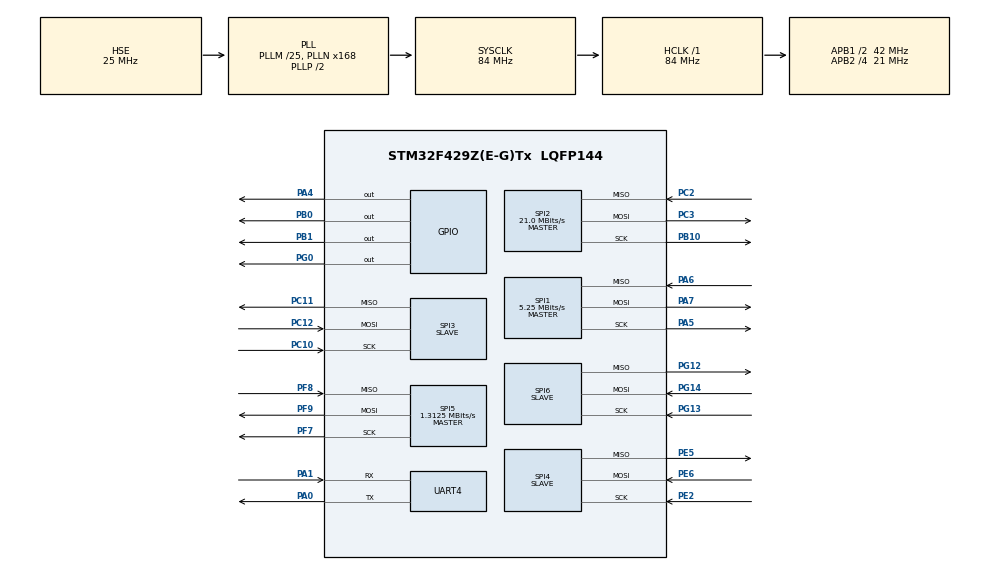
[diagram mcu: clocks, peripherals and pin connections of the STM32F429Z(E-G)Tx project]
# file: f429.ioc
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Mcu.Family=STM32F4
SPI6.Mode=SPI_MODE_SLAVE
PC3.Mode=Full_Duplex_Master
PA6.Mode=Full_Duplex_Master
RCC.CortexFreq_Value=84000000
SPI3.Direction=SPI_DIRECTION_2LINES
SPI4.VirtualType=VM_SLAVE
SPI3.VirtualType=VM_SLAVE
SPI1.VirtualType=VM_MASTER
SPI2.VirtualType=VM_MASTER
PB10.Mode=Full_Duplex_Master
Dma.SPI3_RX.2.Instance=DMA1_Stream0
PC10.Signal=SPI3_SCK
PC12.Signal=SPI3_MOSI
PG0.Signal=GPIO_Output
SPI4.Direction=SPI_DIRECTION_2LINES
Dma.SPI5_RX.4.Priority=DMA_PRIORITY_LOW
Dma.SPI2_TX.1.PeriphInc=DMA_PINC_DISABLE
PA0/WKUP.Signal=UART4_TX
Dma.SPI3_RX.2.Direction=DMA_PERIPH_TO_MEMORY
Dma.SPI4_RX.3.PeriphDataAlignment=DMA_PDATAALIGN_BYTE
Dma.SPI5_RX.4.MemDataAlignment=DMA_MDATAALIGN_BYTE
NVIC.DMA1_Stream4_IRQn=true\:0\:0\:false\:false\:true\:false\:true
PG13.Signal=SPI6_SCK
Dma.SPI5_RX.4.FIFOMode=DMA_FIFOMODE_DISABLE
Dma.SPI3_RX.2.PeriphDataAlignment=DMA_PDATAALIGN_BYTE
RCC.SYSCLKSource=RCC_SYSCLKSOURCE_PLLCLK
ProjectManager.StackSize=0x400
Dma.SPI5_RX.4.MemInc=DMA_MINC_ENABLE
Dma.SPI1_RX.0.Direction=DMA_PERIPH_TO_MEMORY
SPI4.Mode=SPI_MODE_SLAVE
PF7.Signal=SPI5_SCK
SPI1.Direction=SPI_DIRECTION_2LINES
PH0/OSC_IN.Mode=HSE-External-Oscillator
RCC.HCLKFreq_Value=84000000
PE2.Mode=Full_Duplex_Slave
RCC.APB2TimFreq_Value=42000000
PH1/OSC_OUT.Signal=RCC_OSC_OUT
SPI1.CalculateBaudRate=5.25 MBits/s
PC3.Signal=SPI2_MOSI
NVIC.DMA2_Stream0_IRQn=true\:0\:0\:false\:false\:true\:false\:true
PE5.Signal=SPI4_MISO
RCC.AHBFreq_Value=84000000
SPI2.BaudRatePrescaler=SPI_BAUDRATEPRESCALER_2
RCC.HSE_VALUE=25000000
PA4.GPIO_PuPd=GPIO_PULLUP
Dma.SPI1_RX.0.PeriphInc=DMA_PINC_DISABLE
PG14.Mode=Full_Duplex_Slave
PF9.Mode=Full_Duplex_Master
PA14.Mode=Serial_Wire
SPI2.CalculateBaudRate=21.0 MBits/s
PE2.Signal=SPI4_SCK
Dma.SPI6_RX.5.FIFOMode=DMA_FIFOMODE_DISABLE
PF8.Mode=Full_Duplex_Master
PG13.Mode=Full_Duplex_Slave
PH1/OSC_OUT.Mode=HSE-External-Oscillator
Dma.SPI3_RX.2.FIFOMode=DMA_FIFOMODE_DISABLE
Dma.SPI2_TX.1.FIFOMode=DMA_FIFOMODE_DISABLE
Mcu.Package=LQFP144
SPI5.BaudRatePrescaler=SPI_BAUDRATEPRESCALER_16
PB1.Signal=GPIO_Output
PA6.Signal=SPI1_MISO
Dma.SPI2_TX.1.Mode=DMA_NORMAL
SPI2.Mode=SPI_MODE_MASTER
SPI3.Mode=SPI_MODE_SLAVE
Dma.SPI6_RX.5.MemInc=DMA_MINC_ENABLE
Dma.SPI6_RX.5.Instance=DMA2_Stream6
Dma.SPI4_RX.3.Direction=DMA_PERIPH_TO_MEMORY
PF8.Signal=SPI5_MISO
Dma.SPI2_TX.1.Instance=DMA1_Stream4
PC11.Mode=Full_Duplex_Slave
Dma.SPI3_RX.2.PeriphInc=DMA_PINC_DISABLE
SPI5.CalculateBaudRate=1.3125 MBits/s
RCC.APB2CLKDivider=RCC_HCLK_DIV4
Dma.SPI3_RX.2.Priority=DMA_PRIORITY_LOW
Dma.Request2=SPI3_RX
Dma.Request1=SPI2_TX
Dma.SPI5_RX.4.PeriphInc=DMA_PINC_DISABLE
RCC.APB1TimFreq_Value=84000000
Dma.Request4=SPI5_RX
Dma.Request3=SPI4_RX
Dma.Request5=SPI6_RX
NVIC.DMA1_Stream0_IRQn=true\:0\:0\:false\:false\:true\:false\:true
SPI2.Direction=SPI_DIRECTION_2LINES
Dma.SPI6_RX.5.Direction=DMA_PERIPH_TO_MEMORY
Dma.Request0=SPI1_RX
SPI1.BaudRatePrescaler=SPI_BAUDRATEPRESCALER_4
SPI5.VirtualType=VM_MASTER
Dma.SPI6_RX.5.PeriphDataAlignment=DMA_PDATAALIGN_BYTE
PA5.Mode=Full_Duplex_Master
PG12.Signal=SPI6_MISO
RCC.PLLSourceVirtual=RCC_PLLSOURCE_HSE
Dma.SPI2_TX.1.MemInc=DMA_MINC_ENABLE
PA7.Mode=Full_Duplex_Master
Dma.SPI6_RX.5.Mode=DMA_NORMAL
PC11.Signal=SPI3_MISO
Dma.SPI4_RX.3.Priority=DMA_PRIORITY_LOW
PC10.Mode=Full_Duplex_Slave
PC2.Signal=SPI2_MISO
PC2.Mode=Full_Duplex_Master
Dma.SPI1_RX.0.Mode=DMA_NORMAL
RCC.APB1CLKDivider=RCC_HCLK_DIV2
UART4.VirtualMode=Asynchronous
Dma.SPI4_RX.3.FIFOMode=DMA_FIFOMODE_DISABLE
SPI5.Mode=SPI_MODE_MASTER
PA13.Signal=SYS_JTMS-SWDIO
Dma.SPI1_RX.0.FIFOMode=DMA_FIFOMODE_DISABLE
PF7.Mode=Full_Duplex_Master
Dma.SPI4_RX.3.MemInc=DMA_MINC_ENABLE
ProjectManager.TargetToolchain=STM32CubeIDE
SPI2.CRCCalculation=SPI_CRCCALCULATION_DISABLE
NVIC.DMA2_Stream3_IRQn=true\:0\:0\:false\:false\:true\:false\:true
NVIC.DMA2_Stream6_IRQn=true\:0\:0\:false\:false\:true\:false\:true
RCC.LSE_VALUE=32768
PA1.Signal=UART4_RX
PA0/WKUP.Mode=Asynchronous
PB10.Signal=SPI2_SCK
PA5.Signal=SPI1_SCK
PG14.Signal=SPI6_MOSI
PC12.Mode=Full_Duplex_Slave
board=custom
PG12.Mode=Full_Duplex_Slave
Dma.SPI2_TX.1.Direction=DMA_MEMORY_TO_PERIPH
RCC.VCOOutputFreq_Value=168000000
Dma.SPI5_RX.4.Instance=DMA2_Stream5
PH0/OSC_IN.Signal=RCC_OSC_IN
RCC.APB2Freq_Value=21000000
PA1.Mode=Asynchronous
PE6.Mode=Full_Duplex_Slave
Dma.SPI2_TX.1.PeriphDataAlignment=DMA_PDATAALIGN_BYTE
SPI1.Mode=SPI_MODE_MASTER
Dma.SPI2_TX.1.Priority=DMA_PRIORITY_LOW
Dma.SPI1_RX.0.Instance=DMA2_Stream0
PE5.Mode=Full_Duplex_Slave
NVIC.DMA2_Stream5_IRQn=true\:0\:0\:false\:false\:true\:false\:true
Dma.SPI1_RX.0.PeriphDataAlignment=DMA_PDATAALIGN_BYTE
Dma.SPI6_RX.5.MemDataAlignment=DMA_MDATAALIGN_BYTE
SPI6.Direction=SPI_DIRECTION_2LINES
Dma.SPI1_RX.0.MemDataAlignment=DMA_MDATAALIGN_BYTE
Dma.SPI4_RX.3.Mode=DMA_NORMAL
PE6.Signal=SPI4_MOSI
PA13.Mode=Serial_Wire
Dma.SPI3_RX.2.Mode=DMA_NORMAL
Dma.SPI6_RX.5.Priority=DMA_PRIORITY_LOW
Mcu.Name=STM32F429Z(E-G)Tx
Dma.SPI1_RX.0.MemInc=DMA_MINC_ENABLE
RCC.48MHZClocksFreq_Value=42000000
PA4.Signal=GPIO_Output
RCC.SYSCLKFreq_VALUE=84000000
Dma.SPI5_RX.4.PeriphDataAlignment=DMA_PDATAALIGN_BYTE
Dma.SPI3_RX.2.MemInc=DMA_MINC_ENABLE
PA14.Signal=SYS_JTCK-SWCLK
ProjectManager.HeapSize=0x200
Dma.SPI1_RX.0.Priority=DMA_PRIORITY_LOW
PF9.Signal=SPI5_MOSI
RCC.HSI_VALUE=16000000
Dma.SPI4_RX.3.MemDataAlignment=DMA_MDATAALIGN_BYTE
Dma.SPI6_RX.5.PeriphInc=DMA_PINC_DISABLE
Dma.SPI4_RX.3.Instance=DMA2_Stream3
Dma.SPI5_RX.4.Mode=DMA_NORMAL
NVIC.PriorityGroup=NVIC_PRIORITYGROUP_4
RCC.PLLM=25
RCC.PLLN=168
Dma.SPI3_RX.2.MemDataAlignment=DMA_MDATAALIGN_BYTE
RCC.APB1Freq_Value=42000000
PB0.Signal=GPIO_Output
Dma.SPI2_TX.1.MemDataAlignment=DMA_MDATAALIGN_BYTE
Dma.SPI5_RX.4.Direction=DMA_PERIPH_TO_MEMORY
SPI6.VirtualType=VM_SLAVE
Dma.SPI4_RX.3.PeriphInc=DMA_PINC_DISABLE
SPI5.Direction=SPI_DIRECTION_2LINES
PA7.Signal=SPI1_MOSI

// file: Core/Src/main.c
/* USER CODE BEGIN Header */
/**
  ******************************************************************************
  * @file           : main.c
  * @brief          : Main program body
  ******************************************************************************
  * @attention
  *
  * <h2><center>&copy; Copyright (c) 2021 STMicroelectronics.
  * All rights reserved.</center></h2>
  *
  * This software component is licensed by ST under BSD 3-Clause license,
  * the "License"; You may not use this file except in compliance with the
  * License. You may obtain a copy of the License at:
  *                        opensource.org/licenses/BSD-3-Clause
  *
  ******************************************************************************
  */
/* USER CODE END Header */
#include "main.h"
#include "dma.h"
#include "spi.h"
#include "usart.h"
#include "gpio.h"

/* USER CODE BEGIN Includes */
#include "stdio.h"
#include "string.h"
#include "stdlib.h"
#include "w5500.h"
#include "socket.h"
#include "wizchip_conf.h"
#include "loopback.h"
//
#ifdef __GNUC__
#define PUTCHAR_PROTOTYPE int __io_putchar(int ch)
#else
#define PUTCHAR_PROTOTYPE int fputc(int ch, FILE *f)
#endif
PUTCHAR_PROTOTYPE
{
  HAL_UART_Transmit(&huart4 , (uint8_t *)&ch, 1, 0xFFFF);
  return ch;
}
/* USER CODE END Includes */

/* USER CODE BEGIN PD */

#define SOCK_TCPS        0
#define SOCK_UDPS        1
/* USER CODE END PD */

/* USER CODE BEGIN PV */
wiz_NetInfo gWIZNETINFO = { .mac = {0x00, 0x01, 0x02, 0x03, 0x04, 0x05},
                            .ip = {192, 168, 0, 188},
                            .sn = {255, 255, 255, 0},
                            .gw = {192, 168, 0, 1},
                            .dns = {8, 8, 8, 8},
                            .dhcp = NETINFO_STATIC };

uint8_t gDATABUF[2048];
/* USER CODE END PV */

void SystemClock_Config(void);
/* USER CODE BEGIN PFP */
//void W5500_Select(void);
//void W5500_Unselect(void);
//void W5500_ReadBuff(uint8_t* buff, uint16_t len);
//void W5500_WriteBuff(uint8_t* buff, uint16_t len);
//uint8_t W5500_ReadByte(void);
//void W5500_WriteByte(uint8_t byte);
//void network_init(void);
//
//
//
//
//void W5500_WriteByte(uint8_t byte);
//void network_init(void);

void W5500_Select(void) {
	HAL_GPIO_WritePin(GPIOA, GPIO_PIN_4, GPIO_PIN_RESET); //CS LOW
}

void W5500_Unselect(void) {
  HAL_GPIO_WritePin(GPIOA, GPIO_PIN_4, GPIO_PIN_SET);
}

void W5500_ReadBuff(uint8_t* buff, uint16_t len) {
  HAL_SPI_Receive(&hspi5, buff, len, HAL_MAX_DELAY);
}

void W5500_WriteBuff(uint8_t* buff, uint16_t len) {
  HAL_SPI_Transmit(&hspi5, buff, len, HAL_MAX_DELAY);
}
uint8_t W5500_ReadByte(void) {
  uint8_t byte;
  W5500_ReadBuff(&byte, sizeof(byte));
  return byte;
}

void W5500_WriteByte(uint8_t byte) {
  W5500_WriteBuff(&byte, sizeof(byte));
}
//uint8_t spi_rb(void) {
//	uint8_t rbuf;
//	HAL_SPI_Receive(&hspi1, &rbuf, 1, 0xFFFFFFFF);
//	return rbuf;
//}
//
//void spi_wb(uint8_t b) {
//	HAL_SPI_Transmit(&hspi1, &b, 1, 0xFFFFFFFF);
//}
//uint8_t W5500_ReadByte(void) {
//  uint8_t byte;
//  W5500_ReadBuff(&byte, sizeof(byte));
//  return byte;
//}
//
//void W5500_WriteByte(uint8_t byte) {
//  W5500_WriteBuff(&byte, sizeof(byte));
//}

void network_init(void)
{
  uint8_t tmpstr[6];
  ctlnetwork(CN_SET_NETINFO, (void*)&gWIZNETINFO);
  ctlnetwork(CN_GET_NETINFO, (void*)&gWIZNETINFO);

  // Display Network Information
  ctlwizchip(CW_GET_ID,(void*)tmpstr);
  printf("\r\n=== %s NET CONF ===\r\n",(char*)tmpstr);
  printf("MAC: %02X:%02X:%02X:%02X:%02X:%02X\r\n",gWIZNETINFO.mac[0],gWIZNETINFO.mac[1],gWIZNETINFO.mac[2],gWIZNETINFO.mac[3],gWIZNETINFO.mac[4],gWIZNETINFO.mac[5]);
  printf("SIP: %d.%d.%d.%d\r\n", gWIZNETINFO.ip[0],gWIZNETINFO.ip[1],gWIZNETINFO.ip[2],gWIZNETINFO.ip[3]);
  printf("GAR: %d.%d.%d.%d\r\n", gWIZNETINFO.gw[0],gWIZNETINFO.gw[1],gWIZNETINFO.gw[2],gWIZNETINFO.gw[3]);
  printf("SUB: %d.%d.%d.%d\r\n", gWIZNETINFO.sn[0],gWIZNETINFO.sn[1],gWIZNETINFO.sn[2],gWIZNETINFO.sn[3]);
  printf("DNS: %d.%d.%d.%d\r\n", gWIZNETINFO.dns[0],gWIZNETINFO.dns[1],gWIZNETINFO.dns[2],gWIZNETINFO.dns[3]);
  printf("======================\r\n");
}

/* USER CODE END PFP */

int main(void)
{
  /* USER CODE BEGIN 1 */
	uint8_t tmp;
  int32_t retr = 0;
  uint8_t memsize[2][8] = {{2,2,2,2,2,2,2,2},{2,2,2,2,2,2,2,2}};

  /* USER CODE END 1 */

  /* MCU Configuration--------------------------------------------------------*/

  /* Reset of all peripherals, Initializes the Flash interface and the Systick. */
  HAL_Init();

  /* Configure the system clock */
  SystemClock_Config();

  /* Initialize all configured peripherals */
  MX_GPIO_Init();
  MX_DMA_Init();
  MX_SPI1_Init();
  MX_SPI2_Init();
  MX_SPI3_Init();
  MX_SPI4_Init();
  MX_SPI5_Init();
  MX_SPI6_Init();
  MX_UART4_Init();
  /* USER CODE BEGIN 2 */
	reg_wizchip_cs_cbfunc(W5500_Select, W5500_Unselect);
	reg_wizchip_spi_cbfunc(W5500_ReadByte, W5500_WriteByte);
	reg_wizchip_spiburst_cbfunc(W5500_ReadBuff, W5500_WriteBuff);

/* WIZCHIP SOCKET Buffer initialize */
if(ctlwizchip(CW_INIT_WIZCHIP,(void*)memsize) == -1)
{
   printf("WIZCHIP Initialized fail.\r\n");
   while(1);
}

/* PHY link status check */
do
{
   if(ctlwizchip(CW_GET_PHYLINK, (void*)&tmp) == -1)
      printf("Unknown PHY Link stauts.\r\n");
}while(tmp == PHY_LINK_OFF);
	printf("SOCKET ERROR =1");
network_init();

  /* USER CODE END 2 */

  /* Infinite loop */
  /* USER CODE BEGIN WHILE */
  while (1)
  {

//      printf("enter while\r\n");

//      HAL_Delay(500);

//    DHT_data d = DHT_getData(DHT22);
//     printf("Temp: %2.1f \r\n", d.temp );
//
		if( (retr = loopback_tcps(SOCK_TCPS, gDATABUF, 5000)) < 0) {
    printf("SOCKET ERROR : %ld\r\n", retr);
  }

		if( (retr = loopback_udps(SOCK_UDPS, gDATABUF, 3000)) < 0) {
			printf("SOCKET ERROR : %ld\r\n", retr);
		}

    /* USER CODE END WHILE */

  }
}

void SystemClock_Config(void)
{
  RCC_OscInitTypeDef RCC_OscInitStruct = {0};
  RCC_ClkInitTypeDef RCC_ClkInitStruct = {0};

  /** Configure the main internal regulator output voltage
  */
  __HAL_RCC_PWR_CLK_ENABLE();
  __HAL_PWR_VOLTAGESCALING_CONFIG(PWR_REGULATOR_VOLTAGE_SCALE3);
  /** Initializes the RCC Oscillators according to the specified parameters
  * in the RCC_OscInitTypeDef structure.
  */
  RCC_OscInitStruct.OscillatorType = RCC_OSCILLATORTYPE_HSE;
  RCC_OscInitStruct.HSEState = RCC_HSE_ON;
  RCC_OscInitStruct.PLL.PLLState = RCC_PLL_ON;
  RCC_OscInitStruct.PLL.PLLSource = RCC_PLLSOURCE_HSE;
  RCC_OscInitStruct.PLL.PLLM = 25;
  RCC_OscInitStruct.PLL.PLLN = 168;
  RCC_OscInitStruct.PLL.PLLP = RCC_PLLP_DIV2;
  RCC_OscInitStruct.PLL.PLLQ = 4;
  if (HAL_RCC_OscConfig(&RCC_OscInitStruct) != HAL_OK)
  {
    Error_Handler();
  }
  /** Initializes the CPU, AHB and APB buses clocks
  */
  RCC_ClkInitStruct.ClockType = RCC_CLOCKTYPE_HCLK|RCC_CLOCKTYPE_SYSCLK
                              |RCC_CLOCKTYPE_PCLK1|RCC_CLOCKTYPE_PCLK2;
  RCC_ClkInitStruct.SYSCLKSource = RCC_SYSCLKSOURCE_PLLCLK;
  RCC_ClkInitStruct.AHBCLKDivider = RCC_SYSCLK_DIV1;
  RCC_ClkInitStruct.APB1CLKDivider = RCC_HCLK_DIV2;
  RCC_ClkInitStruct.APB2CLKDivider = RCC_HCLK_DIV4;

  if (HAL_RCC_ClockConfig(&RCC_ClkInitStruct, FLASH_LATENCY_2) != HAL_OK)
  {
    Error_Handler();
  }
}

void Error_Handler(void)
{
  __disable_irq();
  while (1)
  {
  }
}

/************************ (C) COPYRIGHT STMicroelectronics *****END OF FILE****/
